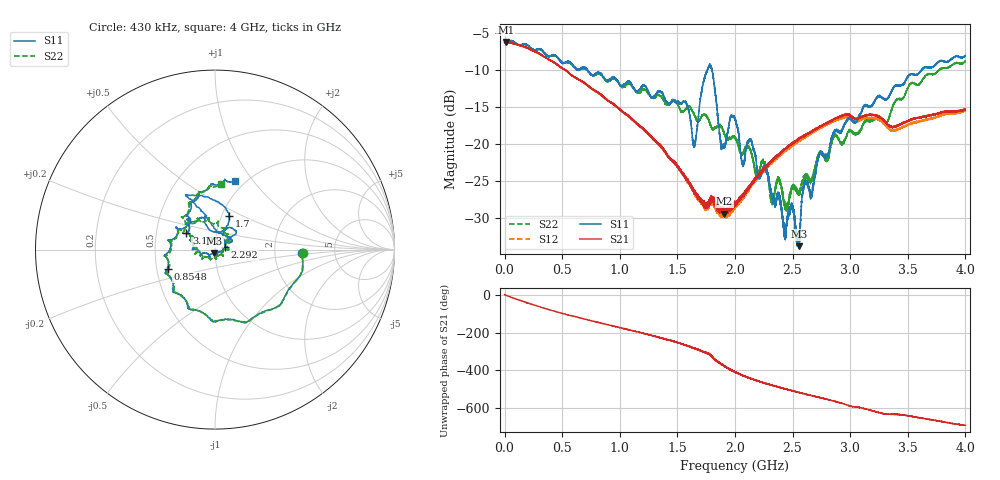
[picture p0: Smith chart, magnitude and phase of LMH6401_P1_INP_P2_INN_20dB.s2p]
!Keysight Technologies N9917A: A.08.18
!Date: Saturday, 27 May 2023 16:31:27
!Timezone: (GMT-07:00) Mountain Time (US & Canada)
!Model: N9917A
!Serial: MY52401314
!GPS Latitude:
!GPS Longitude:
!GPS TimeStamp: 0001-01-01 00:00:00Z
!GPS Seconds Since Last Read: 0
!CHECKSUM:1319314200
!Correction: S11(ON U)S21(ON U)S12(ON U)S22(ON U)
!S2P File: Measurements:S11,S21,S12,S22:
# Hz S DB R 50
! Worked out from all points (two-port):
!   10000 points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, 430 kHz to 4 GHz, reference 50 ohm
!   highest |S21| = -6.19 dB at 9.63 MHz (marker M1); lowest = -29.4 dB at 1.909 GHz (marker M2)
!   |S21| within 3 dB of the highest: start of sweep to 452.2 MHz; 452.6452 MHz to 453.3271 MHz (681.9 kHz wide, 0.151 % of centre)
!   lowest |S11| = -33.8 dB at 2.554 GHz (marker M3), VSWR 1.04, Z = 49.5 - j1.99 ohm
!   |S11| at or under -10 dB: 722.1 MHz to 1.761 GHz (1.039 GHz wide, 83.7 % of centre); 1.799996 GHz to 1.800594 GHz (598.2 kHz wide, 0.0332 % of centre); 1.801 GHz to 3.616 GHz (1.815 GHz wide, 67 % of centre)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
!   |S22| runs from -29.0 to -6.0 dB; largest |S21 - S12| = 0.014
!   S11 on the Smith chart (normalised r, x): 430 kHz: 2.89, -0.13; 854.8 MHz: 0.57, -0.13; 1.7 GHz: 1.08, +0.43; 2.292 GHz: 1.12, +0.03; 3.134 GHz: 0.71, +0.14; 4 GHz: 0.90, +0.81
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429997  -6.25 -2.1  -6.21 1.7  -6.22 1.5  -6.22 -2.1
9629928  -6.27 -2.7  -6.19 -1.8  -6.23 -2.1  -6.23 -2.6
3.024277e8  -7.12 -66.4  -7.73 -62.4  -7.77 -62.5  -7.15 -65.8
6.67225e8  -9.81 -132.4  -11.45 -123.6  -11.50 -123.6  -9.80 -130.9
8.548236e8  -10.88 -157.8  -13.50 -152.7  -13.55 -152.3  -10.97 -156.3
1.33362e9  -12.85 131.8  -19.93 134.7  -19.97 136.3  -13.36 135.6
1.572418e9  -14.35 107.8  -24.60 92.6  -24.51 94.3  -15.20 101.8
1.645618e9  -20.23 87.2  -26.55 76.6  -26.48 77.9  -16.03 101.3
1.699617e9  -13.77 67.4  -27.75 66.0  -27.81 65.5  -16.57 85.1
1.790017e9  -9.55 118.2  -27.28 41.7  -27.78 41.5  -17.58 81.6
1.908816e9  -20.43 51.6  -29.36 -19.6  -29.21 -19.4  -18.69 64.9
2.000415e9  -16.51 56.1  -27.96 -47.2  -28.53 -49.7  -19.20 50.4
2.066015e9  -22.75 45.6  -26.96 -68.3  -27.05 -68.1  -21.24 34.1
2.132414e9  -19.44 30.0  -25.62 -81.9  -25.89 -85.5  -20.71 31.9
2.292413e9  -24.73 14.1  -22.64 -114.4  -22.98 -116.4  -24.80 3.0
2.554011e9  -33.76 -101.8  -19.31 -157.0  -19.63 -158.1  -26.84 -96.1
2.60161e9  -25.53 -129.8  -18.84 -164.8  -19.11 -165.8  -24.62 -113.1
2.66681e9  -26.95 -148.5  -18.30 -174.0  -18.47 -175.2  -25.03 -133.2
2.737609e9  -21.11 -159.5  -17.67 175.9  -17.80 174.0  -21.25 -145.1
3.134006e9  -14.72 150.2  -16.14 115.6  -16.48 115.2  -16.80 159.8
3.333605e9  -13.53 130.2  -17.43 87.2  -17.91 86.7  -16.51 149.7
4e9  -8.02 73.9  -15.25 28.6  -15.44 31.8  -8.74 84.4
